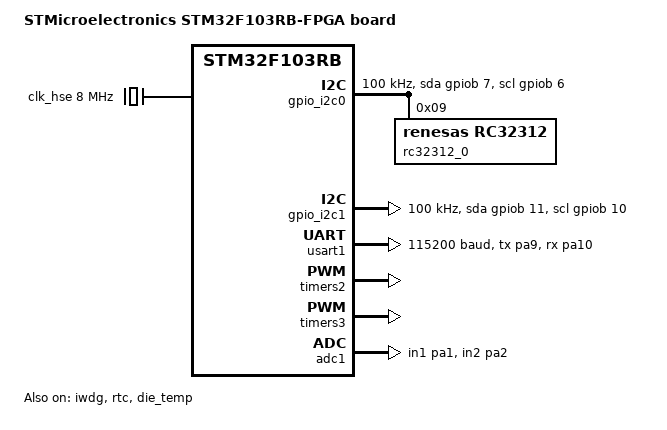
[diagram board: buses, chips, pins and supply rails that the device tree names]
/*
 * Copyright (c) 2017 Linaro Limited
 *
 * SPDX-License-Identifier: Apache-2.0
 */

/dts-v1/;
#include <st/f1/stm32f103Xb.dtsi>
#include <st/f1/stm32f103r(8-b)tx-pinctrl.dtsi>
#include <zephyr/dt-bindings/input/input-event-codes.h>

/ {
	model = "STMicroelectronics STM32F103RB-FPGA board";
	compatible = "st,stm32f103rb-fpga";

	chosen {
		zephyr,console = &usart1;
		zephyr,shell-uart = &usart1;
		zephyr,sram = &sram0;
		zephyr,flash = &flash0;
	};

	aliases {
		i2c0 = &gpio_i2c0;
		i2c1 = &gpio_i2c1;
	};

	gpio_i2c0: i2c0 {
		compatible = "gpio-i2c";
		#address-cells = <1>;
        #size-cells = <0>;
        clock-frequency = <I2C_BITRATE_STANDARD>;
		scl-gpios = <&gpiob 6 (GPIO_OPEN_DRAIN | GPIO_PULL_UP)>;
		sda-gpios = <&gpiob 7 (GPIO_OPEN_DRAIN | GPIO_PULL_UP)>;
		status = "okay";
	};

	gpio_i2c1: i2c1 {
		compatible = "gpio-i2c";
		#address-cells = <1>;
        #size-cells = <0>;
        clock-frequency = <I2C_BITRATE_STANDARD>;
		scl-gpios = <&gpiob 10 (GPIO_OPEN_DRAIN | GPIO_PULL_UP)>;
		sda-gpios = <&gpiob 11 (GPIO_OPEN_DRAIN | GPIO_PULL_UP)>;
		status = "okay";
	};

	smbus0: smbus0 {
		compatible = "st,stm32-smbus";
		#address-cells = <1>;
		#size-cells = <0>;
		i2c = <&gpio_i2c0>;
		status = "okay";
	};

	smbus1: smbus1 {
		compatible = "st,stm32-smbus";
		#address-cells = <1>;
		#size-cells = <0>;
		i2c = <&gpio_i2c1>;
		status = "okay";
	};

	// leds: leds {
	// 	compatible = "gpio-leds";

	// 	green_led_2: led_2 {
	// 		gpios = <&gpioa 5 GPIO_ACTIVE_HIGH>;
	// 		label = "User LD2";
	// 	};
	// };

	// gpio_keys {
	// 	compatible = "gpio-keys";

	// 	user_button: button {
	// 		label = "User";
	// 		gpios = <&gpioc 13 GPIO_ACTIVE_LOW>;
	// 		zephyr,code = <INPUT_KEY_0>;
	// 	};
	// };

	// aliases {
	// 	led0 = &green_led_2;
	// 	sw0 = &user_button;
	// 	watchdog0 = &iwdg;
	// 	die-temp0 = &die_temp;
	// };
};

&clk_lsi {
	status = "okay";
};

&clk_hse {
	hse-bypass;
	clock-frequency = <DT_FREQ_M(8)>; /* STLink 8MHz clock */
	status = "okay";
};

&pll {
	mul = <9>;
	clocks = <&clk_hse>;
	status = "okay";
};

&rcc {
	clocks = <&pll>;
	clock-frequency = <DT_FREQ_M(72)>;
	ahb-prescaler = <1>;
	apb1-prescaler = <2>;
	apb2-prescaler = <1>;
	adc-prescaler = <2>;
};

&usart1 {
	pinctrl-0 = <&usart1_tx_pa9 &usart1_rx_pa10>;
	pinctrl-names = "default";
	current-speed = <115200>;
	status = "okay";
};

// &usart2 {
// 	pinctrl-0 = <&usart2_tx_pa2 &usart2_rx_pa3>;
// 	pinctrl-names = "default";
// 	current-speed = <115200>;
// 	status = "okay";
// };

// &usart3 {
// 	pinctrl-0 = <&usart3_tx_pb10 &usart3_rx_pb11>;
// 	pinctrl-names = "default";
// 	current-speed = <115200>;
// };

// &i2c1 {
// 	pinctrl-0 = <&i2c1_scl_remap1_pb8 &i2c1_sda_remap1_pb9>;
// 	pinctrl-names = "default";
// 	status = "okay";
// 	clock-frequency = <I2C_BITRATE_FAST>;
// };

// &spi1 {
// 	pinctrl-0 = <&spi1_sck_master_pa5 &spi1_miso_master_pa6 &spi1_mosi_master_pa7>;
// 	pinctrl-names = "default";
// 	cs-gpios = <&gpiob 6 (GPIO_ACTIVE_LOW | GPIO_PULL_UP)>;
// 	status = "okay";
// };

// &spi2 {
// 	pinctrl-0 = <&spi2_nss_master_pb12 &spi2_sck_master_pb13
// 		     &spi2_miso_master_pb14 &spi2_mosi_master_pb15>;
// 	pinctrl-names = "default";
// 	status = "okay";
// };

// &timers1 {
// 	st,prescaler = <10000>;
// 	status = "okay";

// 	pwm1: pwm {
// 		status = "okay";
// 		pinctrl-0 = <&tim1_ch1_pwm_out_pa8>;
// 		pinctrl-names = "default";
// 	};
// };

&timers2 {
	st,prescaler = <65535>;
	status = "okay";

	pwm2: pwm {
		status = "okay";
		pinctrl-0 = <&tim2_ch1_remap1_pwm_out_pa15 &tim2_ch2_remap1_pwm_in_pb3>;
		pinctrl-names = "default";
	};
};

&timers3 {
	st,prescaler = <65535>;
	status = "okay";

	pwm3: pwm {
		status = "okay";
		pinctrl-0 = <&tim3_ch1_pwm_out_pa6 &tim1_ch1n_remap1_pwm_in_pa7>;
		pinctrl-names = "default";
	};
};

&iwdg {
	status = "okay";
};

&rtc {
	clocks = <&rcc STM32_CLOCK(APB1, 28)>,
		 <&rcc STM32_SRC_LSI RTC_SEL(2)>;
	status = "okay";
};

&adc1 {
	pinctrl-0 = <&adc1_in1_pa1 &adc1_in2_pa2>;
	pinctrl-names = "default";
	status = "okay";
};

&die_temp {
	status = "okay";
};

&dma1 {
	status = "okay";
};

&flash0 {
	partitions {
		compatible = "fixed-partitions";
		#address-cells = <1>;
		#size-cells = <1>;

		/* Set 2KB of storage at the end of 128KB flash */
		storage_partition: partition@1f800 {
			label = "storage";
			reg = <0x0001f800 DT_SIZE_K(2)>;
		};
	};
};


&gpio_i2c0 {
    rc32312_0: rc32312@9 {
        compatible = "renesas,rc32312";
        reg = <0x9>;
		dev_num = <0>;
    };
};
